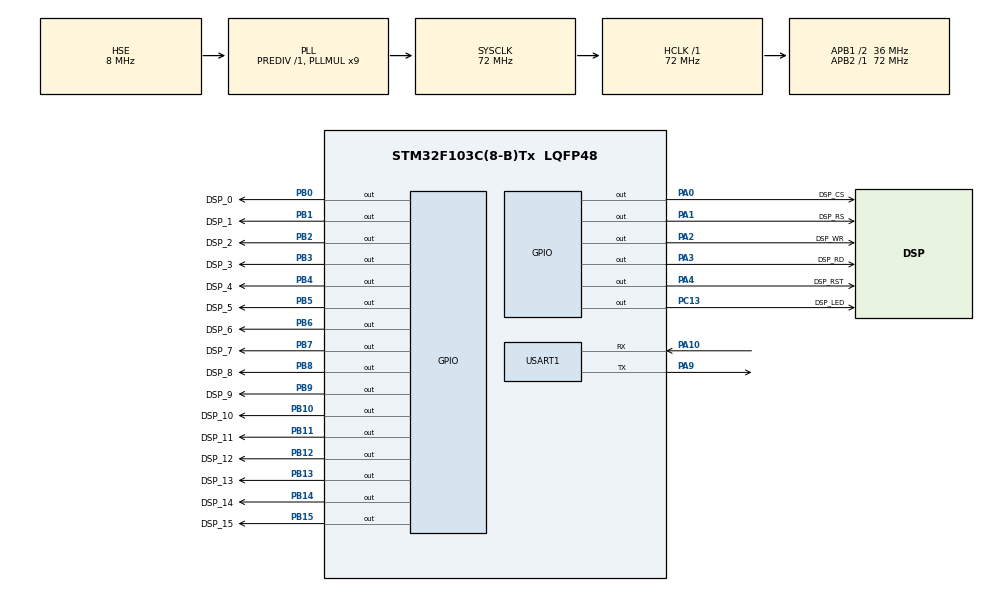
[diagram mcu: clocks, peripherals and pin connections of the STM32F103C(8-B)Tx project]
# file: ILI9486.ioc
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Mcu.Family=STM32F1
Mcu.Name=STM32F103C(8-B)Tx
Mcu.Package=LQFP48
NVIC.PriorityGroup=NVIC_PRIORITYGROUP_4
NVIC.USART1_IRQn=true\:0\:0\:false\:false\:true
PA0-WKUP.GPIO_Label=DSP_CS
PA0-WKUP.GPIO_ModeDefaultOutputPP=GPIO_MODE_OUTPUT_PP
PA0-WKUP.GPIO_Speed=GPIO_SPEED_FREQ_HIGH
PA0-WKUP.PinState=GPIO_PIN_RESET
PA0-WKUP.Signal=GPIO_Output
PA1.GPIO_Label=DSP_RS
PA1.GPIO_ModeDefaultOutputPP=GPIO_MODE_OUTPUT_PP
PA1.GPIO_Speed=GPIO_SPEED_FREQ_HIGH
PA1.PinState=GPIO_PIN_RESET
PA1.Signal=GPIO_Output
PA10.Mode=Asynchronous
PA10.Signal=USART1_RX
PA13.Mode=Serial_Wire
PA13.Signal=SYS_JTMS-SWDIO
PA14.Mode=Serial_Wire
PA14.Signal=SYS_JTCK-SWCLK
PA2.GPIO_Label=DSP_WR
PA2.GPIO_ModeDefaultOutputPP=GPIO_MODE_OUTPUT_PP
PA2.GPIO_Speed=GPIO_SPEED_FREQ_HIGH
PA2.PinState=GPIO_PIN_RESET
PA2.Signal=GPIO_Output
PA3.GPIO_Label=DSP_RD
PA3.GPIO_ModeDefaultOutputPP=GPIO_MODE_OUTPUT_PP
PA3.GPIO_Speed=GPIO_SPEED_FREQ_HIGH
PA3.PinState=GPIO_PIN_RESET
PA3.Signal=GPIO_Output
PA4.GPIO_Label=DSP_RST
PA4.GPIO_ModeDefaultOutputPP=GPIO_MODE_OUTPUT_PP
PA4.GPIO_Speed=GPIO_SPEED_FREQ_HIGH
PA4.PinState=GPIO_PIN_RESET
PA4.Signal=GPIO_Output
PA9.Mode=Asynchronous
PA9.Signal=USART1_TX
PB0.GPIO_Label=DSP_0
PB0.GPIO_ModeDefaultOutputPP=GPIO_MODE_OUTPUT_PP
PB0.GPIO_Speed=GPIO_SPEED_FREQ_HIGH
PB0.PinState=GPIO_PIN_RESET
PB0.Signal=GPIO_Output
PB1.GPIO_Label=DSP_1
PB1.GPIO_ModeDefaultOutputPP=GPIO_MODE_OUTPUT_PP
PB1.GPIO_Speed=GPIO_SPEED_FREQ_HIGH
PB1.PinState=GPIO_PIN_RESET
PB1.Signal=GPIO_Output
PB10.GPIO_Label=DSP_10
PB10.GPIO_ModeDefaultOutputPP=GPIO_MODE_OUTPUT_PP
PB10.GPIO_Speed=GPIO_SPEED_FREQ_HIGH
PB10.PinState=GPIO_PIN_RESET
PB10.Signal=GPIO_Output
PB11.GPIO_Label=DSP_11
PB11.GPIO_ModeDefaultOutputPP=GPIO_MODE_OUTPUT_PP
PB11.GPIO_Speed=GPIO_SPEED_FREQ_HIGH
PB11.PinState=GPIO_PIN_RESET
PB11.Signal=GPIO_Output
PB12.GPIO_Label=DSP_12
PB12.GPIO_ModeDefaultOutputPP=GPIO_MODE_OUTPUT_PP
PB12.GPIO_Speed=GPIO_SPEED_FREQ_HIGH
PB12.PinState=GPIO_PIN_RESET
PB12.Signal=GPIO_Output
PB13.GPIO_Label=DSP_13
PB13.GPIO_ModeDefaultOutputPP=GPIO_MODE_OUTPUT_PP
PB13.GPIO_Speed=GPIO_SPEED_FREQ_HIGH
PB13.PinState=GPIO_PIN_RESET
PB13.Signal=GPIO_Output
PB14.GPIO_Label=DSP_14
PB14.GPIO_ModeDefaultOutputPP=GPIO_MODE_OUTPUT_PP
PB14.GPIO_Speed=GPIO_SPEED_FREQ_HIGH
PB14.PinState=GPIO_PIN_RESET
PB14.Signal=GPIO_Output
PB15.GPIO_Label=DSP_15
PB15.GPIO_ModeDefaultOutputPP=GPIO_MODE_OUTPUT_PP
PB15.GPIO_Speed=GPIO_SPEED_FREQ_HIGH
PB15.PinState=GPIO_PIN_RESET
PB15.Signal=GPIO_Output
PB2.GPIO_Label=DSP_2
PB2.GPIO_ModeDefaultOutputPP=GPIO_MODE_OUTPUT_PP
PB2.GPIO_Speed=GPIO_SPEED_FREQ_HIGH
PB2.PinState=GPIO_PIN_RESET
PB2.Signal=GPIO_Output
PB3.GPIO_Label=DSP_3
PB3.GPIO_ModeDefaultOutputPP=GPIO_MODE_OUTPUT_PP
PB3.GPIO_Speed=GPIO_SPEED_FREQ_HIGH
PB3.PinState=GPIO_PIN_RESET
PB3.Signal=GPIO_Output
PB4.GPIO_Label=DSP_4
PB4.GPIO_ModeDefaultOutputPP=GPIO_MODE_OUTPUT_PP
PB4.GPIO_Speed=GPIO_SPEED_FREQ_HIGH
PB4.PinState=GPIO_PIN_RESET
PB4.Signal=GPIO_Output
PB5.GPIO_Label=DSP_5
PB5.GPIO_ModeDefaultOutputPP=GPIO_MODE_OUTPUT_PP
PB5.GPIO_Speed=GPIO_SPEED_FREQ_HIGH
PB5.PinState=GPIO_PIN_RESET
PB5.Signal=GPIO_Output
PB6.GPIO_Label=DSP_6
PB6.GPIO_ModeDefaultOutputPP=GPIO_MODE_OUTPUT_PP
PB6.GPIO_Speed=GPIO_SPEED_FREQ_HIGH
PB6.PinState=GPIO_PIN_RESET
PB6.Signal=GPIO_Output
PB7.GPIO_Label=DSP_7
PB7.GPIO_ModeDefaultOutputPP=GPIO_MODE_OUTPUT_PP
PB7.GPIO_Speed=GPIO_SPEED_FREQ_HIGH
PB7.PinState=GPIO_PIN_RESET
PB7.Signal=GPIO_Output
PB8.GPIO_Label=DSP_8
PB8.GPIO_ModeDefaultOutputPP=GPIO_MODE_OUTPUT_PP
PB8.GPIO_Speed=GPIO_SPEED_FREQ_HIGH
PB8.PinState=GPIO_PIN_RESET
PB8.Signal=GPIO_Output
PB9.GPIO_Label=DSP_9
PB9.GPIO_ModeDefaultOutputPP=GPIO_MODE_OUTPUT_PP
PB9.GPIO_Speed=GPIO_SPEED_FREQ_HIGH
PB9.PinState=GPIO_PIN_RESET
PB9.Signal=GPIO_Output
PC13-TAMPER-RTC.GPIO_Label=DSP_LED
PC13-TAMPER-RTC.GPIO_ModeDefaultOutputPP=GPIO_MODE_OUTPUT_PP
PC13-TAMPER-RTC.GPIO_Speed=GPIO_SPEED_FREQ_HIGH
PC13-TAMPER-RTC.PinState=GPIO_PIN_RESET
PC13-TAMPER-RTC.Signal=GPIO_Output
PD0-OSC_IN.Mode=HSE-External-Oscillator
PD0-OSC_IN.Signal=RCC_OSC_IN
PD1-OSC_OUT.Mode=HSE-External-Oscillator
PD1-OSC_OUT.Signal=RCC_OSC_OUT
ProjectManager.HeapSize=0x200
ProjectManager.StackSize=0x400
ProjectManager.TargetToolchain=Makefile
RCC.AHBFreq_Value=72000000
RCC.APB1CLKDivider=RCC_HCLK_DIV2
RCC.APB1Freq_Value=36000000
RCC.APB1TimFreq_Value=72000000
RCC.APB2Freq_Value=72000000
RCC.APB2TimFreq_Value=72000000
RCC.HCLKFreq_Value=72000000
RCC.PLLMUL=RCC_PLL_MUL9
RCC.PLLSourceVirtual=RCC_PLLSOURCE_HSE
RCC.SYSCLKFreq_VALUE=72000000
RCC.SYSCLKSource=RCC_SYSCLKSOURCE_PLLCLK
RCC.USBFreq_Value=72000000
USART1.VirtualMode=VM_ASYNC
board=ILI9486

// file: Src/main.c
/**
  ******************************************************************************
  * File Name          : main.c
  * Description        : Main program body
  ******************************************************************************
  ** This notice applies to any and all portions of this file
  * that are not between comment pairs USER CODE BEGIN and
  * USER CODE END. Other portions of this file, whether
  * inserted by the user or by software development tools
  * are owned by their respective copyright owners.
  *
  * COPYRIGHT(c) 2018 STMicroelectronics
  *
  * Redistribution and use in source and binary forms, with or without modification,
  * are permitted provided that the following conditions are met:
  *   1. Redistributions of source code must retain the above copyright notice,
  *      this list of conditions and the following disclaimer.
  *   2. Redistributions in binary form must reproduce the above copyright notice,
  *      this list of conditions and the following disclaimer in the documentation
  *      and/or other materials provided with the distribution.
  *   3. Neither the name of STMicroelectronics nor the names of its contributors
  *      may be used to endorse or promote products derived from this software
  *      without specific prior written permission.
  *
  * THIS SOFTWARE IS PROVIDED BY THE COPYRIGHT HOLDERS AND CONTRIBUTORS "AS IS"
  * AND ANY EXPRESS OR IMPLIED WARRANTIES, INCLUDING, BUT NOT LIMITED TO, THE
  * IMPLIED WARRANTIES OF MERCHANTABILITY AND FITNESS FOR A PARTICULAR PURPOSE ARE
  * DISCLAIMED. IN NO EVENT SHALL THE COPYRIGHT HOLDER OR CONTRIBUTORS BE LIABLE
  * FOR ANY DIRECT, INDIRECT, INCIDENTAL, SPECIAL, EXEMPLARY, OR CONSEQUENTIAL
  * DAMAGES (INCLUDING, BUT NOT LIMITED TO, PROCUREMENT OF SUBSTITUTE GOODS OR
  * SERVICES; LOSS OF USE, DATA, OR PROFITS; OR BUSINESS INTERRUPTION) HOWEVER
  * CAUSED AND ON ANY THEORY OF LIABILITY, WHETHER IN CONTRACT, STRICT LIABILITY,
  * OR TORT (INCLUDING NEGLIGENCE OR OTHERWISE) ARISING IN ANY WAY OUT OF THE USE
  * OF THIS SOFTWARE, EVEN IF ADVISED OF THE POSSIBILITY OF SUCH DAMAGE.
  *
  ******************************************************************************
  */
#include "main.h"
#include "stm32f1xx_hal.h"
#include "usart.h"
#include "gpio.h"

/* USER CODE BEGIN Includes */
#include "tft9486.h"
#include "myimage.h"

#pragma GCC diagnostic ignored "-Wimplicit-function-declaration"

#define SYSCLK_FREQ_128MHz

/* USER CODE END Includes */

/* USER CODE BEGIN PV */
/* Private variables ---------------------------------------------------------*/
extern uint16_t BACK_COLOR,POINT_COLOR;
extern uint16_t tft_W;
extern uint16_t tft_H;

extern UART_HandleTypeDef huart1;

uint8_t data_rx[64]={0};
uint16_t data_len = 0;

/* USER CODE END PV */

void SystemClock_Config(void);

/* USER CODE BEGIN PFP */
/* Private function prototypes -----------------------------------------------*/
void tft_temp_26x48(uint16_t row,uint16_t column,int8_t *string,uint8_t TFT_STRING_MODE);

/* USER CODE END PFP */

/* USER CODE BEGIN 0 */
void tft_temp_26x48(uint16_t row,uint16_t column,int8_t *string,uint8_t TFT_STRING_MODE)
{
  uint8_t i=0;
  uint8_t font_w=25;
  uint8_t font_h=48;

  while(*(string+i)!='\0')
  {

    if(*(string+i)==0x0d/*'\r'*/)
    {
      *(string+i)=0x00;
      i++;
    }

    if(*(string+i)==0x0a/*'\n'*/)
    {
      *(string+i)=0x00;
      i++;
    }

    if(column>tft_W-font_w)
    {
      column=0;row+=font_h;
    }

    if(row>tft_H-font_h)
    {
      row=column=0;
    }

    tft_putchar26x48(column,row,*(string+i),TFT_STRING_MODE);
    column+=font_w;
    i++;
  }
}

/* USER CODE END 0 */

int main(void)
{

  /* USER CODE BEGIN 1 */

  //uint8_t data_to_send[20] = "test transfer \n";

  /* USER CODE END 1 */

  /* MCU Configuration----------------------------------------------------------*/

  /* Reset of all peripherals, Initializes the Flash interface and the Systick. */
  HAL_Init();

  /* Configure the system clock */
  SystemClock_Config();

  /* USER CODE BEGIN SysInit */
//   HAL_RCC_DeInit();
//   SystemClock_Config128();

  /* USER CODE END SysInit */

  /* Initialize all configured peripherals */
  MX_GPIO_Init();
  MX_USART1_UART_Init();

  /* USER CODE BEGIN 2 */
  tft_init();
  tft_set_rotation(1);
  tft_clear(COLOR_BLACK);
  BACK_COLOR=COLOR_BLACK;
  POINT_COLOR=COLOR_YELLOW;
  /* USER CODE END 2 */

  /* Infinite loop */
  /* USER CODE BEGIN WHILE */

  while (1)
  {
  //for(uint8_t i=0; i < (sizeof(data_rx)/sizeof(data_rx[0])); i++) data_rx[i]=0; // flush
  //HAL_UART_Receive_IT(&huart1, data_rx, 36);

  //for(uint16_t i=0; i < (sizeof(data_rx)/sizeof(data_rx[0]))*8; i++)
  //  tft_temp_26x48(0,i,(int8_t*)data_rx,TFT_STRING_MODE_BACKGROUND);
  /* USER CODE END WHILE */

  /* USER CODE BEGIN 3 */
    tft_temp_26x48(0,0,(int8_t*)data_rx,TFT_STRING_MODE_BACKGROUND);

    for(uint16_t i = 0; i<320; i++)
    {
      tft_scroll_vertical(i);
      HAL_Delay(5);
    }

    MX_USART1_UART_Init();
    HAL_UART_Receive_IT(&huart1, data_rx, 36);
    HAL_Delay(2);

  }

  /* USER CODE END 3 */

}

/** System Clock Configuration
*/
void SystemClock_Config(void)
{

  RCC_OscInitTypeDef RCC_OscInitStruct;
  RCC_ClkInitTypeDef RCC_ClkInitStruct;

    /**Initializes the CPU, AHB and APB busses clocks
    */
  RCC_OscInitStruct.OscillatorType = RCC_OSCILLATORTYPE_HSE;
  RCC_OscInitStruct.HSEState = RCC_HSE_ON;
  RCC_OscInitStruct.HSEPredivValue = RCC_HSE_PREDIV_DIV1;
  RCC_OscInitStruct.HSIState = RCC_HSI_ON;
  RCC_OscInitStruct.PLL.PLLState = RCC_PLL_ON;
  RCC_OscInitStruct.PLL.PLLSource = RCC_PLLSOURCE_HSE;
  RCC_OscInitStruct.PLL.PLLMUL = RCC_PLL_MUL9;
  if (HAL_RCC_OscConfig(&RCC_OscInitStruct) != HAL_OK)
  {
    _Error_Handler(__FILE__, __LINE__);
  }

    /**Initializes the CPU, AHB and APB busses clocks
    */
  RCC_ClkInitStruct.ClockType = RCC_CLOCKTYPE_HCLK|RCC_CLOCKTYPE_SYSCLK
                              |RCC_CLOCKTYPE_PCLK1|RCC_CLOCKTYPE_PCLK2;
  RCC_ClkInitStruct.SYSCLKSource = RCC_SYSCLKSOURCE_PLLCLK;
  RCC_ClkInitStruct.AHBCLKDivider = RCC_SYSCLK_DIV1;
  RCC_ClkInitStruct.APB1CLKDivider = RCC_HCLK_DIV2;
  RCC_ClkInitStruct.APB2CLKDivider = RCC_HCLK_DIV1;

  if (HAL_RCC_ClockConfig(&RCC_ClkInitStruct, FLASH_LATENCY_2) != HAL_OK)
  {
    _Error_Handler(__FILE__, __LINE__);
  }

    /**Configure the Systick interrupt time
    */
  HAL_SYSTICK_Config(HAL_RCC_GetHCLKFreq()/1000);

    /**Configure the Systick
    */
  HAL_SYSTICK_CLKSourceConfig(SYSTICK_CLKSOURCE_HCLK);

  /* SysTick_IRQn interrupt configuration */
  HAL_NVIC_SetPriority(SysTick_IRQn, 0, 0);
}

void _Error_Handler(char * file, int line)
{
  while(1)
  {
  }
}

/************************ (C) COPYRIGHT STMicroelectronics *****END OF FILE****/
